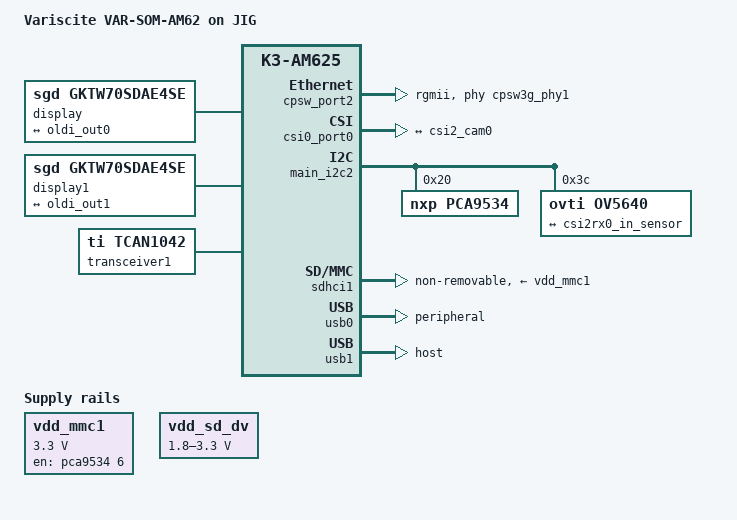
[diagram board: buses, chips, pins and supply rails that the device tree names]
// SPDX-License-Identifier: GPL-2.0
/*
 * VAR-SOM-AM62
 *
 * Copyright (C) 2021-2022 Texas Instruments Incorporated - https://www.ti.com/
 * Copyright (C) 2023 Variscite Ltd. - https://www.variscite.com/
 */

/dts-v1/;

#include "k3-am625-var-som.dtsi"

/ {
	model = "Variscite VAR-SOM-AM62 on JIG";

	aliases {
		ethernet0 = &cpsw_port1;
		ethernet1 = &cpsw_port2;
		mmc0 = &sdhci0;
		mmc1 = &sdhci1;
		mmc2 = &sdhci2;
		serial0 = &main_uart0;
		serial2 = &main_uart2;
		serial5 = &main_uart5;
		serial6 = &main_uart6;
		usb0 = &usb0;
		usb1 = &usb1;
		i2c0 = &main_i2c0;
		i2c1 = &main_i2c1;
		i2c2 = &main_i2c2;
		i2c3 = &main_i2c3;
	};


	chosen {
		stdout-path = "serial0:115200n8";
		bootargs = "console=ttyS0,115200n8 earlycon=ns16550a,mmio32,0x02800000";
	};

	clk_ov5640_fixed: clock {
		#clock-cells = <0>;
		compatible = "fixed-clock";
		clock-frequency = <12000000>;
	};

	display {
		compatible = "sgd,gktw70sdae4se";
		status = "okay";

		port@0 {
			lcd_in0: endpoint {
				remote-endpoint = <&oldi_out0>;
			};
		};
	};

	display1 {
		compatible = "sgd,gktw70sdae4se";
		status = "okay";
		
		port@1 {
            lcd_in1: endpoint {
                remote-endpoint = <&oldi_out1>;
			};
        };
		
	};

	vdd_mmc1: regulator-3 {
		compatible = "regulator-fixed";
		regulator-name = "SD_power_en";
		regulator-min-microvolt = <3300000>;
		regulator-max-microvolt = <3300000>;
		regulator-boot-on;
		enable-active-high;
		gpio = <&pca9534 6 GPIO_ACTIVE_HIGH>;
		status="okay";
	};

	vdd_sd_dv: regulator-4 {
		compatible = "regulator-gpio";
		regulator-name = "SD_voltage_sel";
		pinctrl-names = "default";
		pinctrl-0 = <&vdd_sd_dv_pins_default>;
		regulator-min-microvolt = <1800000>;
		regulator-max-microvolt = <3300000>;
		regulator-boot-on;
		gpios = <&main_gpio0 56 GPIO_ACTIVE_HIGH>;
		states = <1800000 0x0>,
				 <3300000 0x1>;
		status="okay";
	};

	transceiver1: can-phy0 {
		compatible = "ti,tcan1042";
		#phy-cells = <0>;
		max-bitrate = <5000000>;
	};
};

&cpsw3g {
	pinctrl-names = "default";
	pinctrl-0 = <&main_mdio1_pins_default
		     &main_rgmii1_pins_default>;
};

&cpsw3g_mdio {
	cpsw3g_phy1: ethernet-phy@5 {
		status = "disabled";
		reg = <5>;
		compatible = "ethernet-phy-id0283.bc30";
		reset-gpios = <&pca9534 5 GPIO_ACTIVE_LOW>;
		reset-assert-us = <10000>;
		reset-deassert-us = <20000>;
	};
};

&cpsw_port2 {
	phy-mode = "rgmii";
	phy-handle = <&cpsw3g_phy1>;
};

&csi0_port0 {
	status = "okay";

	csi2rx0_in_sensor: endpoint {
		remote-endpoint = <&csi2_cam0>;
		bus-type = <4>; /* CSI2 DPHY. */
		clock-lanes = <0>;
		data-lanes = <1 2>;
	};
};

&dss {
	pinctrl-names = "default";
	pinctrl-0 = <&main_oldi0_pins_default>;
};

&dss_ports {
	#address-cells = <1>;
	#size-cells = <0>;

	/* VP1: LVDS Output (OLDI TX 0) */
	port@0 {
		reg = <0>;
		oldi_out0: endpoint {
			remote-endpoint = <&lcd_in0>;
		};
	};

    /* VP1: LVDS Output (OLDI TX 1) */
    port@2 {
        reg = <2>;
        oldi_out1: endpoint {
            remote-endpoint = <&lcd_in1>;
        };
    };
};

&epwm0 {
	status = "disabled";
};

&epwm1 {
	status = "disabled";
};

&epwm2 {
	status = "disabled";
};

&mailbox0_cluster0 {
	mbox_m4_0: mbox-m4-0 {
		ti,mbox-rx = <0 0 0>;
		ti,mbox-tx = <1 0 0>;
	};

	mbox_r5_0: mbox-r5-0 {
		ti,mbox-rx = <2 0 0>;
		ti,mbox-tx = <3 0 0>;
	};
};

&main_mcan0 {
	status = "disabled";
};

&main_gpio0 {
        ti,ngpio = <92>;
};

&main_i2c0 {
	status = "disabled";
};

&main_i2c1 {
	status = "disabled";
};

&main_i2c2 {
	/* GPIO expander */
	pca9534: gpio@20 {
		compatible = "nxp,pca9534";
		reg = <0x20>;
		gpio-controller;
		#gpio-cells = <2>;
		
		status = "okay";
	};

	ov5640: camera@3c {
		compatible = "ovti,ov5640";
		reg = <0x3c>;

		clocks = <&clk_ov5640_fixed>;
		clock-names = "xclk";

		csi_id = <0>;
		mclk = <24000000>;
		mclk_source = <0>;
		mipi_csi;

		pinctrl-names = "default";

		port {
			csi2_cam0: endpoint {
				remote-endpoint = <&csi2rx0_in_sensor>;
				clock-lanes = <0>;
				data-lanes = <1 2>;
			};
		};
	};
};

&main_pmx0 {
	
	pinctrl-names = "default";
	pinctrl-0 = <&mygpio1_pins_default>;
	
	mygpio1_pins_default: mygpio1-pins-default {
		pinctrl-single,pins = <
			AM62X_IOPAD(0x01f0, PIN_INPUT, 7) /* (A18) EXT_REFCLK1.GPIO1_30 */
			AM62X_IOPAD(0x0078, PIN_INPUT, 7) /* (U24) GPMC0_AD15.GPIO0_30 */	
			AM62X_IOPAD(0x0164, PIN_INPUT, 7) /* (AA19) RGMII2_TX_CTL.GPIO0_87 */
			AM62X_IOPAD(0x0168, PIN_INPUT, 7) /* (AE21) RGMII2_TXC.GPIO0_88 */
			AM62X_IOPAD(0x016c, PIN_INPUT, 7) /* (Y18) RGMII2_TD0.GPIO0_89 */
			AM62X_IOPAD(0x0170, PIN_INPUT, 7) /* (AA18) RGMII2_TD1.GPIO0_90 */
			AM62X_IOPAD(0x0174, PIN_INPUT, 7) /* (AD21) RGMII2_TD2.GPIO0_91 */
			AM62X_IOPAD(0x0178, PIN_INPUT, 7) /* (AC20) RGMII2_TD3.GPIO1_0 */
			AM62X_IOPAD(0x017c, PIN_INPUT, 7) /* (AD22) RGMII2_RX_CTL.GPIO1_1 */
			AM62X_IOPAD(0x0180, PIN_INPUT, 7) /* (AD23) RGMII2_RXC.GPIO1_2 */
			AM62X_IOPAD(0x0184, PIN_INPUT, 7) /* (AE23) RGMII2_RD0.GPIO1_3 */
			AM62X_IOPAD(0x0188, PIN_INPUT, 7) /* (AB20) RGMII2_RD1.GPIO1_4 */
			AM62X_IOPAD(0x018c, PIN_INPUT, 7) /* (AC21) RGMII2_RD2.GPIO1_5 */
			AM62X_IOPAD(0x0190, PIN_INPUT, 7) /* (AE22) RGMII2_RD3.GPIO1_6 */
			AM62X_IOPAD(0x001c, PIN_INPUT, 7) /* (J23) OSPI0_D4.GPIO0_7 */
			AM62X_IOPAD(0x0020, PIN_INPUT, 7) /* (J25) OSPI0_D5.GPIO0_8 */
			AM62X_IOPAD(0x0024, PIN_INPUT, 7) /* (H25) OSPI0_D6.GPIO0_9 */
			AM62X_IOPAD(0x0028, PIN_INPUT, 7) /* (J22) OSPI0_D7.GPIO0_10 */
			AM62X_IOPAD(0x01e0, PIN_INPUT, 7) /* (B16) I2C0_SCL.GPIO1_26 */
			AM62X_IOPAD(0x01e4, PIN_INPUT, 7) /* (A16) I2C0_SDA.GPIO1_27 */
			AM62X_IOPAD(0x01e8, PIN_INPUT, 7) /* (B17) I2C1_SCL.GPIO1_28 */
			AM62X_IOPAD(0x01ec, PIN_INPUT, 7) /* (A17) I2C1_SDA.GPIO1_29 */
			AM62X_IOPAD(0x01ac, PIN_INPUT, 7) /* (E19) MCASP0_AFSR.GPIO1_13 */
			AM62X_IOPAD(0x0244, PIN_INPUT, 7) /* (C17) MMC1_SDWP.GPIO1_49 */	

			AM62X_IOPAD(0x0194, PIN_INPUT, 7) /* (B19) MCASP0_AXR3.GPIO1_7 */
			AM62X_IOPAD(0x0198, PIN_INPUT, 7) /* (A19) MCASP0_AXR2.GPIO1_8 */
			AM62X_IOPAD(0x019c, PIN_INPUT, 7) /* (B18) MCASP0_AXR1.GPIO1_9 */
			AM62X_IOPAD(0x01a0, PIN_INPUT, 7) /* (E18) MCASP0_AXR0.GPIO1_10 */
			AM62X_IOPAD(0x01a4, PIN_INPUT, 7) /* (B20) MCASP0_ACLKX.GPIO1_11 */
			AM62X_IOPAD(0x01a8, PIN_INPUT, 7) /* (D20) MCASP0_AFSX.GPIO1_12 */
			AM62X_IOPAD(0x01b0, PIN_INPUT, 7) /* (A20) MCASP0_ACLKR.GPIO1_14 */
			AM62X_IOPAD(0x01b8, PIN_INPUT, 7) /* (C13) SPI0_CS1.GPIO1_16 */
			AM62X_IOPAD(0x01d8, PIN_INPUT, 7) /* (C15) MCAN0_TX.GPIO1_24 */
			AM62X_IOPAD(0x01dc, PIN_INPUT, 7) /* (E15) MCAN0_RX.GPIO1_25 */
			AM62X_IOPAD(0x0240, PIN_INPUT, 7) /* (D17) MMC1_SDCD.GPIO1_48 */
			
			AM62X_IOPAD(0x0048, PIN_INPUT, 7) /* (N25) GPMC0_AD3.GPIO0_18 */
			AM62X_IOPAD(0x004c, PIN_INPUT, 7) /* (P24) GPMC0_AD4.GPIO0_19 */
			AM62X_IOPAD(0x0050, PIN_INPUT, 7) /* (P22) GPMC0_AD5.GPIO0_20 */
			AM62X_IOPAD(0x0054, PIN_INPUT, 7) /* (P21) GPMC0_AD6.GPIO0_21 */
			AM62X_IOPAD(0x0058, PIN_INPUT, 7) /* (R23) GPMC0_AD7.GPIO0_22 */
			AM62X_IOPAD(0x005c, PIN_INPUT, 7) /* (R24) GPMC0_AD8.GPIO0_23 */
			AM62X_IOPAD(0x0060, PIN_INPUT, 7) /* (R25) GPMC0_AD9.GPIO0_24 */
			AM62X_IOPAD(0x0064, PIN_INPUT, 7) /* (T25) GPMC0_AD10.GPIO0_25 */
			AM62X_IOPAD(0x0068, PIN_INPUT, 7) /* (R21) GPMC0_AD11.GPIO0_26 */
			AM62X_IOPAD(0x006c, PIN_INPUT, 7) /* (T22) GPMC0_AD12.GPIO0_27 */
			AM62X_IOPAD(0x0070, PIN_INPUT, 7) /* (T24) GPMC0_AD13.GPIO0_28 */
			AM62X_IOPAD(0x0074, PIN_INPUT, 7) /* (U25) GPMC0_AD14.GPIO0_29 */
			AM62X_IOPAD(0x009c, PIN_INPUT, 7) /* (V25) GPMC0_WAIT1.GPIO0_38 */

			AM62X_IOPAD(0x0254, PIN_INPUT, 7) /* (C20) USB0_DRVVBUS.GPIO1_50 */
			AM62X_IOPAD(0x0258, PIN_INPUT, 7) /* (F18) USB1_DRVVBUS.GPIO1_51 */			
		>;
	};

	main_mmc1_pins_default: main-mmc1-pins-default {
		pinctrl-single,pins = <
			AM62X_IOPAD(0x23c, PIN_INPUT, 0) /* (A21) MMC1_CMD */
			AM62X_IOPAD(0x234, PIN_INPUT, 0) /* (B22) MMC1_CLK */
			AM62X_IOPAD(0x230, PIN_INPUT, 0) /* (A22) MMC1_DAT0 */
			AM62X_IOPAD(0x22c, PIN_INPUT, 0) /* (B21) MMC1_DAT1 */
			AM62X_IOPAD(0x228, PIN_INPUT, 0) /* (C21) MMC1_DAT2 */
			AM62X_IOPAD(0x224, PIN_INPUT, 0) /* (D22) MMC1_DAT3 */
		>;
	};

	main_oldi0_pins_default: main-oldi0-pins-default {
		pinctrl-single,pins = <
			AM62X_IOPAD(0x0260, PIN_INPUT, 0) /* (AA5) OLDI0_A0N */
			AM62X_IOPAD(0x025c, PIN_OUTPUT, 0) /* (Y6) OLDI0_A0P */
			AM62X_IOPAD(0x0268, PIN_OUTPUT, 0) /* (AD3) OLDI0_A1N */
			AM62X_IOPAD(0x0264, PIN_OUTPUT, 0) /* (AB4) OLDI0_A1P */
			AM62X_IOPAD(0x0270, PIN_OUTPUT, 0) /* (Y8) OLDI0_A2N */
			AM62X_IOPAD(0x026c, PIN_OUTPUT, 0) /* (AA8) OLDI0_A2P */
			AM62X_IOPAD(0x0278, PIN_OUTPUT, 0) /* (AB6) OLDI0_A3N */
			AM62X_IOPAD(0x0274, PIN_OUTPUT, 0) /* (AA7) OLDI0_A3P */
			AM62X_IOPAD(0x0280, PIN_OUTPUT, 0) /* (AC6) OLDI0_A4N */
			AM62X_IOPAD(0x027c, PIN_OUTPUT, 0) /* (AC5) OLDI0_A4P */
			AM62X_IOPAD(0x0288, PIN_OUTPUT, 0) /* (AE5) OLDI0_A5N */
			AM62X_IOPAD(0x0284, PIN_OUTPUT, 0) /* (AD6) OLDI0_A5P */
			AM62X_IOPAD(0x0290, PIN_OUTPUT, 0) /* (AE6) OLDI0_A6N */
			AM62X_IOPAD(0x028c, PIN_OUTPUT, 0) /* (AD7) OLDI0_A6P */
			AM62X_IOPAD(0x0298, PIN_OUTPUT, 0) /* (AD8) OLDI0_A7N */
			AM62X_IOPAD(0x0294, PIN_OUTPUT, 0) /* (AE7) OLDI0_A7P */
			AM62X_IOPAD(0x02a0, PIN_OUTPUT, 0) /* (AD4) OLDI0_CLK0N */
			AM62X_IOPAD(0x029c, PIN_OUTPUT, 0) /* (AE3) OLDI0_CLK0P */
			AM62X_IOPAD(0x02a8, PIN_OUTPUT, 0) /* (AE4) OLDI0_CLK1N */
			AM62X_IOPAD(0x02a4, PIN_OUTPUT, 0) /* (AD5) OLDI0_CLK1P */
		>;
	};

	main_rgmii2_pins_default: main-rgmii2-pins-default {
		pinctrl-single,pins = <
			AM62X_IOPAD(0x184, PIN_INPUT, 0) /* (AE23) RGMII2_RD0 */
			AM62X_IOPAD(0x188, PIN_INPUT, 0) /* (AB20) RGMII2_RD1 */
			AM62X_IOPAD(0x18c, PIN_INPUT, 0) /* (AC21) RGMII2_RD2 */
			AM62X_IOPAD(0x190, PIN_INPUT, 0) /* (AE22) RGMII2_RD3 */
			AM62X_IOPAD(0x180, PIN_INPUT, 0) /* (AD23) RGMII2_RXC */
			AM62X_IOPAD(0x17c, PIN_INPUT, 0) /* (AD22) RGMII2_RX_CTL */
			AM62X_IOPAD(0x16c, PIN_INPUT, 0) /* (Y18) RGMII2_TD0 */
			AM62X_IOPAD(0x170, PIN_INPUT, 0) /* (AA18) RGMII2_TD1 */
			AM62X_IOPAD(0x174, PIN_INPUT, 0) /* (AD21) RGMII2_TD2 */
			AM62X_IOPAD(0x178, PIN_INPUT, 0) /* (AC20) RGMII2_TD3 */
			AM62X_IOPAD(0x168, PIN_INPUT_PULLDOWN, 0) /* (AE21) RGMII2_TXC */
			AM62X_IOPAD(0x164, PIN_INPUT, 0) /* (AA19) RGMII2_TX_CTL */
		>;
	};

	main_uart0_pins_default: main-uart0-pins-default {
		pinctrl-single,pins = <
			AM62X_IOPAD(0x1c8, PIN_INPUT, 0) /* (D14) UART0_RXD */
			AM62X_IOPAD(0x1cc, PIN_OUTPUT, 0) /* (E14) UART0_TXD */
		>;
	};

	vdd_sd_dv_pins_default: vdd-sd-dv-pins-default {
		pinctrl-single,pins = <
			AM62X_IOPAD(0x00e4, PIN_OUTPUT, 7) /* (AA23) VOUT0_DATA11.GPIO0_56 */
		>;
	};
};

&main_spi2 {
	status = "disabled";
};

&main_uart0 {
	pinctrl-names = "default";
	pinctrl-0 = <&main_uart0_pins_default>;
};

&main_uart1 {
	/* Main UART1 is used by TIFS firmware */
	status = "reserved";
};

&main_uart2 {
	status = "disabled";
};

&main_uart3 {
	status = "disabled";
};

&main_uart4 {
	status = "disabled";
};

&main_uart6 {
	status = "disabled";
};

&mcu_i2c0 {
	status = "disabled";
};

&mcu_m4fss {
	mboxes = <&mailbox0_cluster0 &mbox_m4_0>;
	memory-region = <&mcu_m4fss_dma_memory_region>,
			<&mcu_m4fss_memory_region>;
};

&mcu_uart0 {
	status = "disabled";
};

&mcu_rti0 {
	/* MCU RTI0 is used by M4F firmware */
	status = "reserved";
};

&mcu_pmx0 {
	pinctrl-names = "default";
	pinctrl-0 = <&mymcugpio1_pins_default>;
	
	mymcugpio1_pins_default: mymcugpio1-pins-default {
		pinctrl-single,pins = <
			AM62X_MCU_IOPAD(0x0000, PIN_INPUT, 7) /* (E8) MCU_SPI0_CS0.MCU_GPIO0_0 */
			AM62X_MCU_IOPAD(0x0004, PIN_INPUT, 7) /* (B8) MCU_SPI0_CS1.MCU_GPIO0_1 */
			AM62X_MCU_IOPAD(0x0008, PIN_INPUT, 7) /* (A7) MCU_SPI0_CLK.MCU_GPIO0_2 */
			AM62X_MCU_IOPAD(0x000c, PIN_INPUT, 7) /* (D9) MCU_SPI0_D0.MCU_GPIO0_3 */
			AM62X_MCU_IOPAD(0x0010, PIN_INPUT, 7) /* (C9) MCU_SPI0_D1.MCU_GPIO0_4 */
			AM62X_MCU_IOPAD(0x0014, PIN_INPUT, 7) /* (B5) MCU_UART0_RXD.MCU_GPIO0_5 */
			AM62X_MCU_IOPAD(0x0018, PIN_INPUT, 7) /* (A5) MCU_UART0_TXD.MCU_GPIO0_6 */
			AM62X_MCU_IOPAD(0x001c, PIN_INPUT, 7) /* (A6) MCU_UART0_CTSn.MCU_GPIO0_7 */
			AM62X_MCU_IOPAD(0x0020, PIN_INPUT, 7) /* (B6) MCU_UART0_RTSn.MCU_GPIO0_8 */
			AM62X_MCU_IOPAD(0x0024, PIN_INPUT, 7) /* (B4) WKUP_UART0_RXD.MCU_GPIO0_9 */
			AM62X_MCU_IOPAD(0x0028, PIN_INPUT, 7) /* (C5) WKUP_UART0_TXD.MCU_GPIO0_10 */
			AM62X_MCU_IOPAD(0x002c, PIN_INPUT, 7) /* (C6) WKUP_UART0_CTSn.MCU_GPIO0_11 */
			AM62X_MCU_IOPAD(0x0030, PIN_INPUT, 7) /* (A4) WKUP_UART0_RTSn.MCU_GPIO0_12 */
			AM62X_MCU_IOPAD(0x0034, PIN_INPUT, 7) /* (D6) MCU_MCAN0_TX.MCU_GPIO0_13 */
			AM62X_MCU_IOPAD(0x0038, PIN_INPUT, 7) /* (B3) MCU_MCAN0_RX.MCU_GPIO0_14 */
			AM62X_MCU_IOPAD(0x003c, PIN_INPUT, 7) /* (E5) MCU_MCAN1_TX.MCU_GPIO0_15 */
			AM62X_MCU_IOPAD(0x0040, PIN_INPUT, 7) /* (D4) MCU_MCAN1_RX.MCU_GPIO0_16 */
			AM62X_MCU_IOPAD(0x0044, PIN_INPUT, 7) /* (A8) MCU_I2C0_SCL.MCU_GPIO0_17 */
			AM62X_MCU_IOPAD(0x0048, PIN_INPUT, 7) /* (D10) MCU_I2C0_SDA.MCU_GPIO0_18 */
			AM62X_MCU_IOPAD(0x004c, PIN_INPUT, 7) /* (B9) WKUP_I2C0_SCL.MCU_GPIO0_19 */
			AM62X_MCU_IOPAD(0x0050, PIN_INPUT, 7) /* (A9) WKUP_I2C0_SDA.MCU_GPIO0_20 */
			AM62X_MCU_IOPAD(0x005c, PIN_INPUT, 7) /* (B12) MCU_RESETSTATz.MCU_GPIO0_21 */
		>;
	};
};

&sdhci1 {
	/* SD Card */
	vmmc-supply = <&vdd_mmc1>;
	vqmmc-supply = <&vdd_sd_dv>;
	pinctrl-names = "default";
	pinctrl-0 = <&main_mmc1_pins_default>;
	ti,driver-strength-ohm = <50>;
	disable-wp;
	non-removable;
	ti,fails-without-test-cd;
	status="okay";
};

&usb0 {
	dr_mode = "peripheral";
	status="okay";
};

&usb1 {
	dr_mode = "host";
	status="okay";
};

&usbss0 {
	ti,vbus-divider;
};

&wkup_i2c0 {
	status = "disabled";
};

&wkup_r5fss0_core0 {
	mboxes = <&mailbox0_cluster0 &mbox_r5_0>;
	memory-region = <&wkup_r5fss0_core0_dma_memory_region>,
			<&wkup_r5fss0_core0_memory_region>;
};

&wkup_rtc0 {
	status = "disabled";
};

&wkup_rti0 {
	/* WKUP RTI0 is used by DM firmware */
	status = "reserved";
};

&wkup_uart0 {
	/* WKUP UART0 is used by DM firmware */
	status = "reserved";
};
